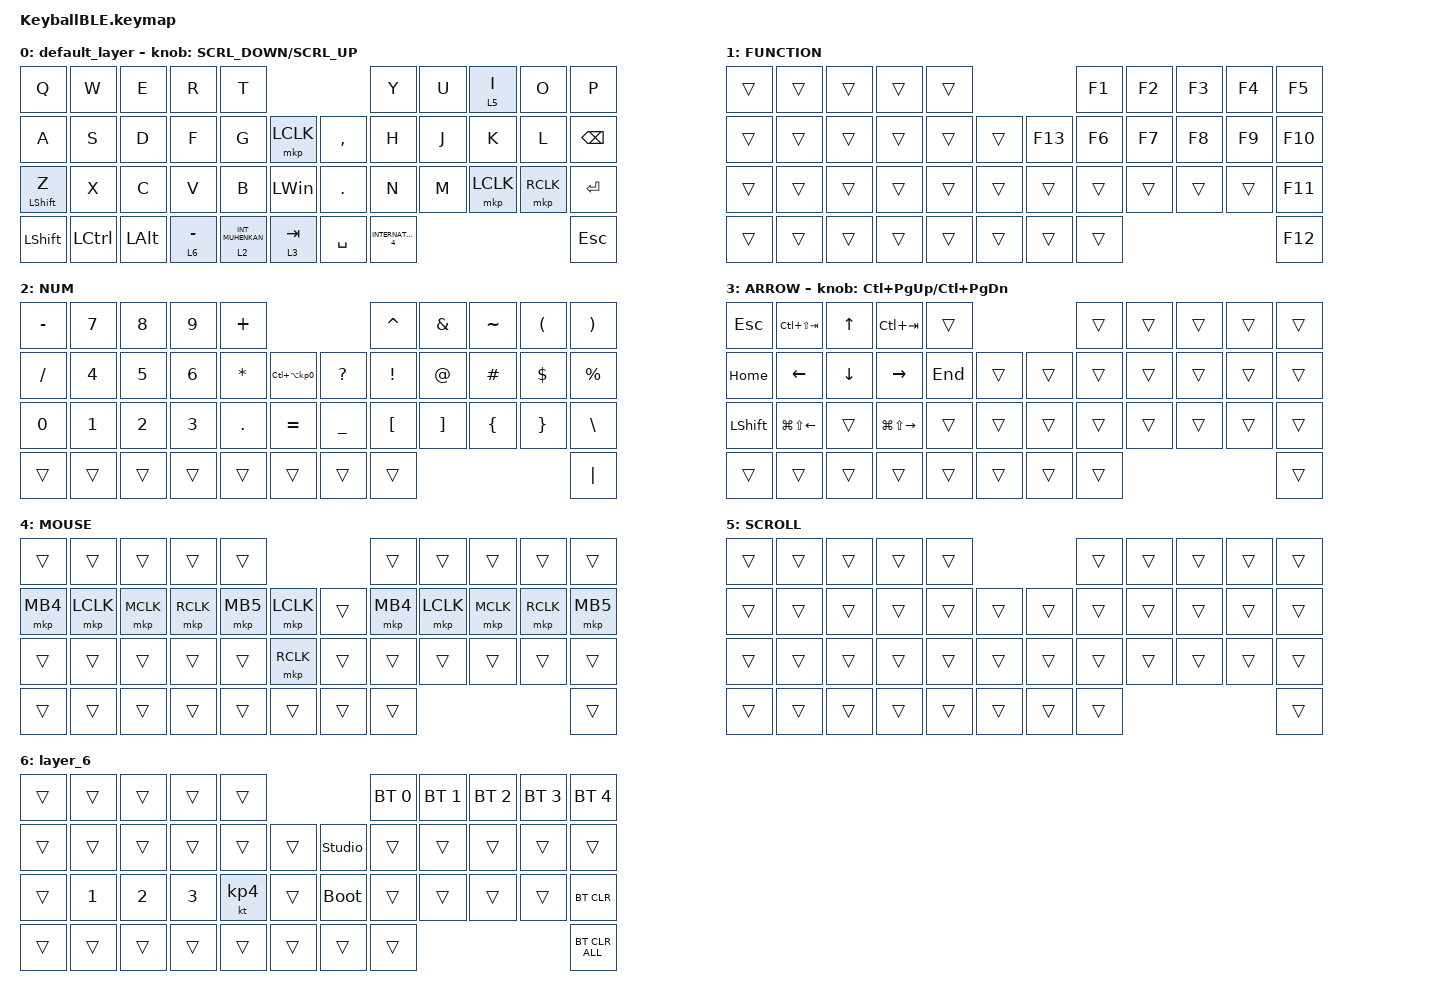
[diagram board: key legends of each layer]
#define ZMK_POINTING_DEFAULT_SCRL_VAL 120    // default: 10

#include <behaviors.dtsi>
#include <dt-bindings/zmk/bt.h>
#include <dt-bindings/zmk/keys.h>
#include <dt-bindings/zmk/pointing.h>

#define MOUSE 4
#define SCROLL 5
#define NUM 6

&mt {
    flavor = "balanced";
    quick-tap-ms = <0>;
};

/ {
    combos {
        compatible = "zmk,combos";

        double_quotation {
            bindings = <&kp DOUBLE_QUOTES>;
            key-positions = <20 21>;
        };
    };

    macros {
        to_layer_0: to_layer_0 {
            compatible = "zmk,behavior-macro-one-param";
            #binding-cells = <1>;
            bindings = <&to 0 &macro_param_1to1 &kp MACRO_PLACEHOLDER>;
            label = "TO_LAYER_0";
        };
    };

    behaviors {
        lt_to_layer_0: lt_to_layer_0 {
            compatible = "zmk,behavior-hold-tap";
            label = "LAYER_TAP_TO_0";
            bindings = <&mo>, <&to_layer_0>;

            #binding-cells = <2>;
            tapping-term-ms = <200>;
        };

        ROTATE: ROTATE {
            compatible = "zmk,behavior-sensor-rotate-var";
            label = "ROTATE";
            #sensor-binding-cells = <2>;
            bindings = <&msc>, <&msc>;

            tap-ms = <20>;
        };
    };

    keymap {
        compatible = "zmk,keymap";

        default_layer {
            bindings = <
&kp Q             &kp W             &kp E         &kp R                   &kp T                                                                &kp Y                &kp U  &lt 5 I    &kp O      &kp P
&kp A             &kp S             &kp D         &kp F                   &kp G                          &mkp LCLK                 &kp COMMA   &kp H                &kp J  &kp K      &kp L      &kp BACKSPACE
&mt LEFT_SHIFT Z  &kp X             &kp C         &kp V                   &kp B                          &kp LEFT_WIN              &kp PERIOD  &kp N                &kp M  &mkp LCLK  &mkp RCLK  &kp ENTER
&kp LEFT_SHIFT    &kp LEFT_CONTROL  &kp LEFT_ALT  &lt_to_layer_0 6 MINUS  &lt_to_layer_0 2 INT_MUHENKAN  &lt_to_layer_0 3 TAB      &kp SPACE   &kp INTERNATIONAL_4                               &kp ESCAPE
            >;

            sensor-bindings = <&ROTATE SCRL_DOWN SCRL_UP>;
        };

        FUNCTION {
            bindings = <
&trans  &trans  &trans  &trans  &trans                       &kp F1  &kp F2  &kp F3  &kp F4  &kp F5
&trans  &trans  &trans  &trans  &trans  &trans      &kp F13  &kp F6  &kp F7  &kp F8  &kp F9  &kp F10
&trans  &trans  &trans  &trans  &trans  &trans      &trans   &trans  &trans  &trans  &trans  &kp F11
&trans  &trans  &trans  &trans  &trans  &trans      &trans   &trans                          &kp F12
            >;
        };

        NUM {
            bindings = <
&kp MINUS     &kp NUMBER_7  &kp NUMBER_8  &kp NUMBER_9  &kp PLUS                                                   &kp CARET         &kp AMPERSAND      &kp TILDE       &kp LEFT_PARENTHESIS  &kp RIGHT_PARENTHESIS
&kp SLASH     &kp NUMBER_4  &kp NUMBER_5  &kp NUMBER_6  &kp ASTERISK  &kp LC(LA(KP_NUMBER_0))      &kp QUESTION    &kp EXCLAMATION   &kp AT_SIGN        &kp HASH        &kp DOLLAR            &kp PERCENT
&kp NUMBER_0  &kp NUMBER_1  &kp NUMBER_2  &kp NUMBER_3  &kp PERIOD    &kp EQUAL                    &kp UNDERSCORE  &kp LEFT_BRACKET  &kp RIGHT_BRACKET  &kp LEFT_BRACE  &kp RIGHT_BRACE       &kp BACKSLASH
&trans        &trans        &trans        &trans        &trans        &trans                       &trans          &trans                                                                     &kp PIPE
            >;
        };

        ARROW {
            bindings = <
&kp ESCAPE      &kp LC(LS(TAB))         &kp UP_ARROW    &kp LC(TAB)              &trans                       &trans  &trans  &trans  &trans  &trans
&kp HOME        &kp LEFT_ARROW          &kp DOWN_ARROW  &kp RIGHT_ARROW          &kp END  &trans      &trans  &trans  &trans  &trans  &trans  &trans
&kp LEFT_SHIFT  &kp LG(LS(LEFT_ARROW))  &trans          &kp LG(LS(RIGHT_ARROW))  &trans   &trans      &trans  &trans  &trans  &trans  &trans  &trans
&trans          &trans                  &trans          &trans                   &trans   &trans      &trans  &trans                          &trans
            >;

            sensor-bindings = <&inc_dec_kp LC(PAGE_UP) LC(PAGE_DOWN)>;
        };

        MOUSE {
            bindings = <
&trans    &trans     &trans     &trans     &trans                           &trans    &trans     &trans     &trans     &trans
&mkp MB4  &mkp LCLK  &mkp MCLK  &mkp RCLK  &mkp MB5  &mkp LCLK      &trans  &mkp MB4  &mkp LCLK  &mkp MCLK  &mkp RCLK  &mkp MB5
&trans    &trans     &trans     &trans     &trans    &mkp RCLK      &trans  &trans    &trans     &trans     &trans     &trans
&trans    &trans     &trans     &trans     &trans    &trans         &trans  &trans                                     &trans
            >;
        };

        SCROLL {
            bindings = <
&trans  &trans  &trans  &trans  &trans                      &trans  &trans  &trans  &trans  &trans
&trans  &trans  &trans  &trans  &trans  &trans      &trans  &trans  &trans  &trans  &trans  &trans
&trans  &trans  &trans  &trans  &trans  &trans      &trans  &trans  &trans  &trans  &trans  &trans
&trans  &trans  &trans  &trans  &trans  &trans      &trans  &trans                          &trans
            >;
        };

        layer_6 {
            bindings = <
&trans  &trans        &trans        &trans        &trans                                 &bt BT_SEL 0  &bt BT_SEL 1  &bt BT_SEL 2  &bt BT_SEL 3  &bt BT_SEL 4
&trans  &trans        &trans        &trans        &trans     &trans      &studio_unlock  &trans        &trans        &trans        &trans        &trans
&trans  &kp NUMBER_1  &kp NUMBER_2  &kp NUMBER_3  &kt KP_N4  &trans      &bootloader     &trans        &trans        &trans        &trans        &bt BT_CLR
&trans  &trans        &trans        &trans        &trans     &trans      &trans          &trans                                                  &bt BT_CLR_ALL
            >;
        };
    };
};
